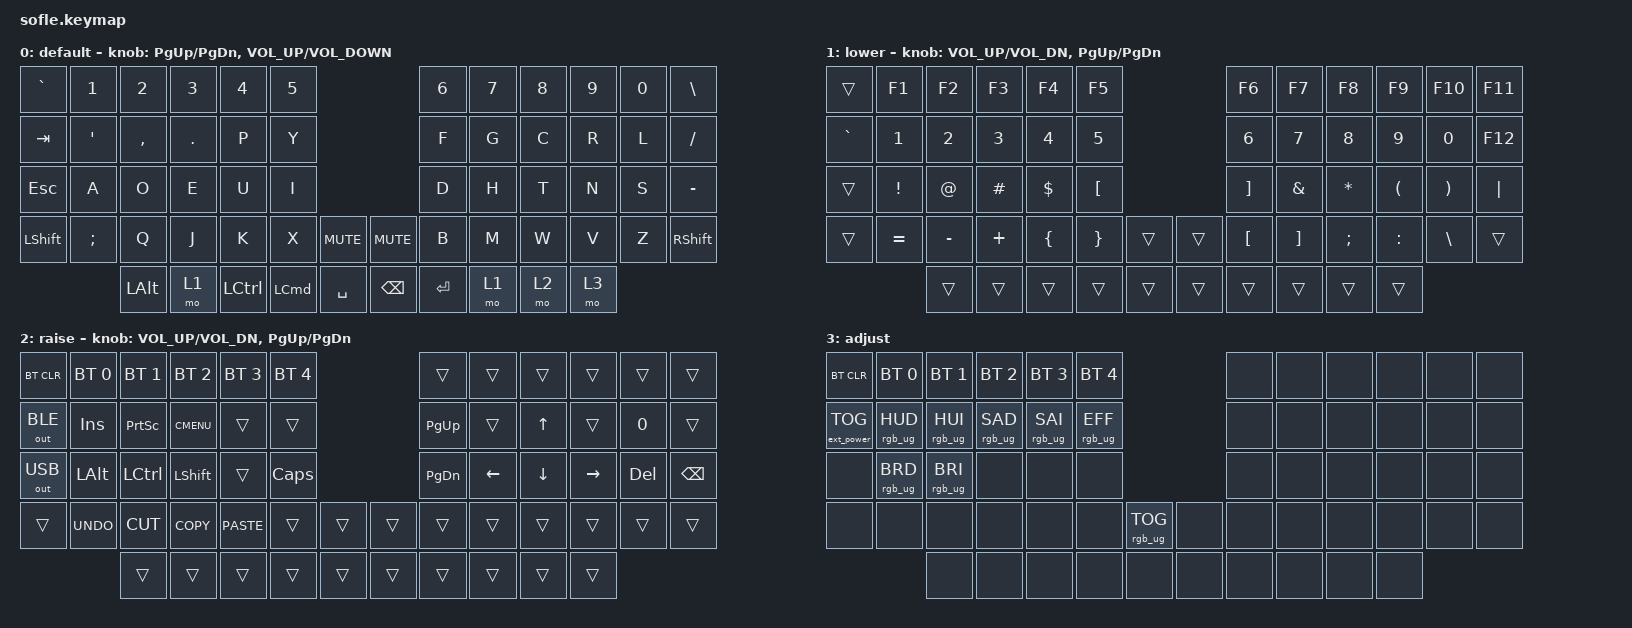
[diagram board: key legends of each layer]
/*
 * Copyright (c) 2020 The ZMK Contributors
 *
 * SPDX-License-Identifier: MIT
 */

#include <behaviors.dtsi>
#include <dt-bindings/zmk/bt.h>
#include <dt-bindings/zmk/ext_power.h>
#include <dt-bindings/zmk/keys.h>
#include <dt-bindings/zmk/outputs.h>
#include <dt-bindings/zmk/rgb.h>

#define BASE 0
#define LOWER 1
#define RAISE 2
#define ADJUST 3

/ {
    // Activate ADJUST layer by pressing raise and lower

    conditional_layers {
        compatible = "zmk,conditional-layers";

        adjust_layer {
            if-layers = <1 2>;
            then-layer = <3>;
        };
    };

    keymap {
        compatible = "zmk,keymap";

        default_layer {
            display-name = "default";

            // ------------------------------------------------------------------------------------------------------------
            // |   `   |  1  |  2  |  3   |  4   |  5   |                   |  6   |  7    |  8    |  9   |   0   |       |
            // |  ESC  |  Q  |  W  |  E   |  R   |  T   |                   |  Y   |  U    |  I    |  O   |   P   | BKSPC |
            // |  TAB  |  A  |  S  |  D   |  F   |  G   |                   |  H   |  J    |  K    |  L   |   ;   |   '   |
            // | SHIFT |  Z  |  X  |  C   |  V   |  B   |  MUTE  |  |       |  N   |  M    |  ,    |  .   |   /   | SHIFT |
            //               | GUI | ALT  | CTRL | LOWER|  ENTER |  | SPACE | RAISE| CTRL  | ALT   | GUI  |

            bindings = <
&kp GRAVE  &kp N1         &kp N2        &kp N3   &kp N4     &kp N5                                         &kp N6     &kp N7  &kp N8  &kp N9  &kp N0  &kp BACKSLASH
&kp TAB    &kp SQT        &kp COMMA     &kp DOT  &kp P      &kp Y                                          &kp F      &kp G   &kp C   &kp R   &kp L   &kp SLASH
&kp ESC    &kp A          &kp O         &kp E    &kp U      &kp I                                          &kp D      &kp H   &kp T   &kp N   &kp S   &kp MINUS
&kp LSHFT  &kp SEMICOLON  &kp Q         &kp J    &kp K      &kp X             &kp C_MUTE    &kp K_MUTE     &kp B      &kp M   &kp W   &kp V   &kp Z   &kp RSHFT
                          &kp LEFT_ALT  &mo 1    &kp LCTRL  &kp LEFT_COMMAND  &kp SPACE     &kp BACKSPACE  &kp ENTER  &mo 1   &mo 2   &mo 3
            >;

            sensor-bindings =
                <&inc_dec_kp PAGE_UP PAGE_DOWN>,
                <&inc_dec_kp C_VOLUME_UP C_VOLUME_DOWN>;
        };

        lower_layer {
            display-name = "lower";

            // TODO: Some binds are waiting for shifted keycode support.
            // ------------------------------------------------------------------------------------------------------------
            // |       |  F1 |  F2 |  F3  |  F4  |  F5  |                   |  F6  |  F7   |  F8   |  F9  |  F10  |  F11  |
            // |   `   |  1  |  2  |  3   |  4   |  5   |                   |  6   |  7    |  8    |  9   |   0   |  F12  |
            // |       |  !  |  @  |  #   |  $   |  %   |                   |  ^   |  &    |  *    |  (   |   )   |   |   |
            // |       |  =  |  -  |  +   |  {   |  }   |        |  |       |  [   |  ]    |  ;    |  :   |   \   |       |
            //               |     |      |      |      |        |  |       |      |       |       |      |

            bindings = <
&trans     &kp F1     &kp F2     &kp F3    &kp F4    &kp F5                              &kp F6             &kp F7    &kp F8     &kp F9     &kp F10   &kp F11
&kp GRAVE  &kp N1     &kp N2     &kp N3    &kp N4    &kp N5                              &kp N6             &kp N7    &kp N8     &kp N9     &kp N0    &kp F12
&trans     &kp EXCL   &kp AT     &kp HASH  &kp DLLR  &kp LEFT_BRACKET                    &kp RIGHT_BRACKET  &kp AMPS  &kp ASTRK  &kp LPAR   &kp RPAR  &kp PIPE
&trans     &kp EQUAL  &kp MINUS  &kp PLUS  &kp LBRC  &kp RBRC          &trans    &trans  &kp LBKT           &kp RBKT  &kp SEMI   &kp COLON  &kp BSLH  &trans
                      &trans     &trans    &trans    &trans            &trans    &trans  &trans             &trans    &trans     &trans
            >;

            sensor-bindings = <&inc_dec_kp C_VOL_UP C_VOL_DN &inc_dec_kp PG_UP PG_DN>;
        };

        raise_layer {
            display-name = "raise";

            // ------------------------------------------------------------------------------------------------------------
            // | BTCLR | BT1  | BT2  |  BT3  |  BT4  |  BT5 |                |      |      |       |      |       |       |
            // |       | INS  | PSCR | GUI   |       |      |                | PGUP |      |   ^   |      |       |       |
            // |       | ALT  | CTRL | SHIFT |       | CAPS |                | PGDN |   <- |   v   |  ->  |  DEL  | BKSPC |
            // |       | UNDO | CUT  | COPY  | PASTE |      |      |  |      |      |      |       |      |       |       |
            //                |      |       |       |      |      |  |      |      |      |       |      |

            bindings = <
&bt BT_CLR    &bt BT_SEL 0  &bt BT_SEL 1  &bt BT_SEL 2  &bt BT_SEL 3  &bt BT_SEL 4                    &trans     &trans    &trans    &trans     &trans   &trans
&out OUT_BLE  &kp INS       &kp PSCRN     &kp K_CMENU   &trans        &trans                          &kp PG_UP  &trans    &kp UP    &trans     &kp N0   &trans
&out OUT_USB  &kp LALT      &kp LCTRL     &kp LSHFT     &trans        &kp CLCK                        &kp PG_DN  &kp LEFT  &kp DOWN  &kp RIGHT  &kp DEL  &kp BSPC
&trans        &kp K_UNDO    &kp K_CUT     &kp K_COPY    &kp K_PASTE   &trans        &trans    &trans  &trans     &trans    &trans    &trans     &trans   &trans
                            &trans        &trans        &trans        &trans        &trans    &trans  &trans     &trans    &trans    &trans
            >;

            sensor-bindings = <&inc_dec_kp C_VOL_UP C_VOL_DN &inc_dec_kp PG_UP PG_DN>;
        };

        adjust_layer {
            // ----------------------------------------------------------------------------------------------------------------------------
            // | BTCLR  |  BT1    |  BT2    |   BT3   |   BT4   |   BT5   |                  |      |      |       |      |       |       |
            // | EXTPWR | RGB_HUD | RGB_HUI | RGB_SAD | RGB_SAI | RGB_EFF |                  |      |      |       |      |       |       |
            // |        | RGB_BRD | RGB_BRI |         |         |         |                  |      |      |       |      |       |       |
            // |        |         |         |         |         |         | RGB_TOG | |      |      |      |       |      |       |       |
            //                    |         |         |         |         |         | |      |      |      |       |      |

            display-name = "adjust";
            bindings = <
&bt BT_CLR         &bt BT_SEL 0     &bt BT_SEL 1     &bt BT_SEL 2     &bt BT_SEL 3     &bt BT_SEL 4                               &none  &none  &none  &none  &none  &none
&ext_power EP_TOG  &rgb_ug RGB_HUD  &rgb_ug RGB_HUI  &rgb_ug RGB_SAD  &rgb_ug RGB_SAI  &rgb_ug RGB_EFF                            &none  &none  &none  &none  &none  &none
&none              &rgb_ug RGB_BRD  &rgb_ug RGB_BRI  &none            &none            &none                                      &none  &none  &none  &none  &none  &none
&none              &none            &none            &none            &none            &none            &rgb_ug RGB_TOG    &none  &none  &none  &none  &none  &none  &none
                                    &none            &none            &none            &none            &none              &none  &none  &none  &none  &none
            >;
        };
    };
};
